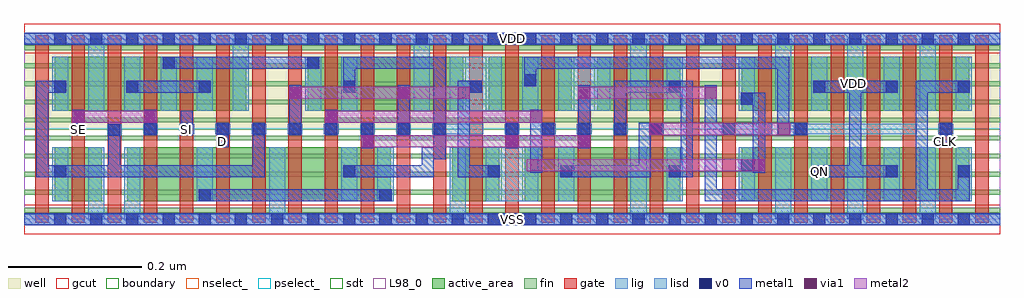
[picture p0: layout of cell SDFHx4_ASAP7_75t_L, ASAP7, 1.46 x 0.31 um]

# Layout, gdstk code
import gdstk
lib = gdstk.Library(unit=1e-6, precision=2.5e-10)
def R(c, l, rs):  # rectangles x0, y0, x1, y1
    for r in rs: c.add(gdstk.rectangle(r[:2], r[2:], *l))
def A(c, l, x, y, w, h, nx, ny, dx, dy):  # array of equal rectangles
    R(c, l, [(x+i*dx, y+j*dy, x+i*dx+w, y+j*dy+h) for i in range(nx) for j in range(ny)])
def P(c, l, *ps):  # polygons
    for p in ps: c.add(gdstk.Polygon(p, *l))
well = (1, 0)
fin = (2, 0)
gate = (7, 0)
gcut = (10, 0)
active_area = (11, 0)
nselect_ = (12, 0)
pselect_ = (13, 0)
lig = (16, 0)
lisd = (17, 0)
v0 = (18, 0)
metal1 = (19, 0)
metal2 = (20, 0)
via1 = (21, 0)
sdt = (88, 0)
L98_0 = (98, 0)
boundary = (100, 0)

sdfhx4_asap7_75t_l = lib.new_cell('SDFHx4_ASAP7_75t_L')
R(sdfhx4_asap7_75t_l, well, [(0,0.135,1.458,0.27)])
A(sdfhx4_asap7_75t_l, fin, 0, 0.01, 1.458, 0.007, 1, 10, 0, 0.027)
A(sdfhx4_asap7_75t_l, gate, 0.017, -0.005, 0.02, 0.28, 27, 1, 0.054, 0)
R(sdfhx4_asap7_75t_l, gcut, [(0,-0.022,1.458,0.022), (0,0.248,1.458,0.292)])
R(sdfhx4_asap7_75t_l, active_area, [(0.046,0.027,0.116,0.108), (0.154,0.027,0.548,0.108), (0.64,0.027,0.71,0.108), (0.748,0.027,0.98,0.108), (1.072,0.027,1.412,0.108), (0.046,0.162,0.332,0.243), (0.424,0.162,0.656,0.243), (0.694,0.162,0.818,0.243), (0.856,0.162,0.98,0.243), (1.072,0.162,1.412,0.243)])
R(sdfhx4_asap7_75t_l, nselect_, [(0,0,1.458,0.135)])
R(sdfhx4_asap7_75t_l, pselect_, [(0,0.135,1.458,0.27)])
A(sdfhx4_asap7_75t_l, lig, 0.178, 0.127, 0.022, 0.016, 8, 1, 0.054, 0)
A(sdfhx4_asap7_75t_l, lig, 0.718, 0.127, 0.022, 0.016, 5, 1, 0.054, 0)
R(sdfhx4_asap7_75t_l, lig, [(0,-0.008,1.458,0.008), (0.124,0.126,0.146,0.142), (0.07,0.127,0.092,0.143), (0.61,0.127,0.686,0.143), (1.042,0.127,1.118,0.143), (1.15,0.127,1.334,0.143), (1.366,0.127,1.388,0.143), (0,0.262,1.458,0.278)])
A(sdfhx4_asap7_75t_l, lisd, 0.366, 0, 0.024, 0.108, 3, 1, 0.27, 0)
A(sdfhx4_asap7_75t_l, lisd, 1.122, 0, 0.024, 0.108, 3, 2, 0.108, 0.162)
A(sdfhx4_asap7_75t_l, lisd, 0.042, 0.027, 0.024, 0.081, 3, 1, 0.216, 0)
A(sdfhx4_asap7_75t_l, lisd, 0.96, 0.027, 0.024, 0.081, 5, 2, 0.108, 0.135)
A(sdfhx4_asap7_75t_l, lisd, 0.15, 0.162, 0.024, 0.081, 3, 1, 0.054, 0)
R(sdfhx4_asap7_75t_l, lisd, [(0.096,0,0.12,0.108), (0.15,0,0.174,0.108), (0.528,0.027,0.552,0.108), (0.69,0.027,0.768,0.108), (0.798,0.027,0.822,0.108), (0.042,0.162,0.066,0.243), (0.096,0.162,0.12,0.27), (0.312,0.162,0.336,0.27), (0.42,0.162,0.444,0.243), (0.474,0.162,0.498,0.243), (0.582,0.162,0.606,0.27), (0.636,0.162,0.714,0.243), (0.744,0.162,0.768,0.243), (0.798,0.162,0.876,0.243), (0.906,0.162,0.93,0.27)])
A(sdfhx4_asap7_75t_l, v0, 0.045, -0.009, 0.018, 0.018, 26, 2, 0.054, 0.27)
A(sdfhx4_asap7_75t_l, v0, 1.179, 0.063, 0.018, 0.018, 3, 2, 0.108, 0.126)
A(sdfhx4_asap7_75t_l, v0, 0.18, 0.126, 0.018, 0.018, 9, 1, 0.054, 0)
A(sdfhx4_asap7_75t_l, v0, 0.72, 0.126, 0.018, 0.018, 5, 1, 0.054, 0)
A(sdfhx4_asap7_75t_l, v0, 0.045, 0.189, 0.018, 0.018, 3, 1, 0.108, 0)
R(sdfhx4_asap7_75t_l, v0, [(0.261,0.027,0.279,0.045), (0.531,0.027,0.549,0.045), (0.045,0.063,0.063,0.081), (0.477,0.063,0.495,0.081), (0.693,0.063,0.711,0.081), (0.801,0.063,0.819,0.081), (0.963,0.063,0.981,0.081), (1.071,0.072,1.089,0.09), (0.126,0.125,0.144,0.143), (0.072,0.126,0.09,0.144), (1.044,0.126,1.062,0.144), (1.152,0.126,1.17,0.144), (1.368,0.126,1.386,0.144), (1.071,0.171,1.089,0.189), (0.477,0.189,0.495,0.207), (0.666,0.189,0.684,0.207), (0.963,0.189,0.981,0.207), (0.747,0.199,0.765,0.217), (0.207,0.225,0.225,0.243), (0.423,0.225,0.441,0.243)])
R(sdfhx4_asap7_75t_l, metal1, [(0,-0.009,1.458,0.009), (0.261,0.027,0.549,0.045), (0.504,0.106,0.522,0.144), (0.72,0.106,0.738,0.144), (0.828,0.106,0.846,0.2), (1.368,0.107,1.386,0.144), (0.288,0.108,0.306,0.144), (0.072,0.126,0.09,0.164), (0.18,0.126,0.198,0.164), (0.234,0.126,0.252,0.162), (0.396,0.126,0.414,0.2), (0.45,0.126,0.468,0.164), (0.558,0.126,0.576,0.2), (0.153,0.189,0.279,0.207), (0.207,0.225,0.441,0.243), (0,0.261,1.458,0.279)])
P(sdfhx4_asap7_75t_l, metal1, [(1.107,0.189),(1.071,0.189),(1.071,0.171),(1.089,0.171),(1.089,0.09),(1.071,0.09),(1.071,0.072),(1.089,0.072),(1.089,0.07),(1.107,0.07)],
  [(0.936,0.126),(0.954,0.126),(0.954,0.144),(0.918,0.144),(0.918,0.081),(0.801,0.081),(0.801,0.063),(0.936,0.063)],
  [(0.774,0.126),(0.792,0.126),(0.792,0.144),(0.774,0.144),(0.774,0.164),(0.756,0.164),(0.756,0.07),(0.774,0.07)],
  [(1.305,0.081),(1.251,0.081),(1.251,0.189),(1.305,0.189),(1.305,0.207),(1.179,0.207),(1.179,0.189),(1.233,0.189),(1.233,0.081),(1.179,0.081),(1.179,0.063),(1.305,0.063)],
  [(0.711,0.081),(0.666,0.081),(0.666,0.189),(0.684,0.189),(0.684,0.207),(0.648,0.207),(0.648,0.063),(0.711,0.063)],
  [(0.36,0.144),(0.342,0.144),(0.342,0.081),(0.144,0.081),(0.144,0.143),(0.126,0.143),(0.126,0.081),(0.036,0.081),(0.036,0.189),(0.063,0.189),(0.063,0.207),(0.018,0.207),(0.018,0.063),(0.36,0.063)],
  [(0.999,0.207),(0.882,0.207),(0.882,0.126),(0.9,0.126),(0.9,0.189),(0.981,0.189),(0.981,0.081),(0.963,0.081),(0.963,0.063),(0.999,0.063)],
  [(1.413,0.207),(1.332,0.207),(1.332,0.045),(1.035,0.045),(1.035,0.126),(1.062,0.126),(1.062,0.144),(1.035,0.144),(1.035,0.2),(1.017,0.2),(1.017,0.027),(1.413,0.027),(1.413,0.081),(1.395,0.081),(1.395,0.045),(1.35,0.045),(1.35,0.189),(1.413,0.189)],
  [(0.612,0.09),(0.63,0.09),(0.63,0.243),(0.477,0.243),(0.477,0.189),(0.495,0.189),(0.495,0.225),(0.612,0.225),(0.612,0.108),(0.594,0.108),(0.594,0.081),(0.477,0.081),(0.477,0.063),(0.612,0.063)],
  [(1.17,0.144),(1.143,0.144),(1.143,0.243),(0.747,0.243),(0.747,0.199),(0.765,0.199),(0.765,0.225),(1.125,0.225),(1.125,0.126),(1.17,0.126)])
R(sdfhx4_asap7_75t_l, metal2, [(0.751,0.072,1.107,0.09), (0.504,0.108,0.846,0.126), (0.934,0.126,1.145,0.144), (0.072,0.144,0.198,0.162), (0.45,0.144,0.774,0.162), (0.396,0.18,0.666,0.198), (0.828,0.18,1.035,0.198)])
R(sdfhx4_asap7_75t_l, via1, [(0.756,0.072,0.774,0.09), (1.089,0.072,1.107,0.09), (0.504,0.108,0.522,0.126), (0.72,0.108,0.738,0.126), (0.828,0.108,0.846,0.126), (0.934,0.126,0.952,0.144), (1.127,0.126,1.145,0.144), (0.072,0.144,0.09,0.162), (0.18,0.144,0.198,0.162), (0.45,0.144,0.468,0.162), (0.756,0.144,0.774,0.162), (0.396,0.18,0.414,0.198), (0.558,0.18,0.576,0.198), (0.648,0.18,0.666,0.198), (0.828,0.18,0.846,0.198), (1.017,0.18,1.035,0.198)])
A(sdfhx4_asap7_75t_l, sdt, 0.042, 0.027, 0.024, 0.081, 3, 1, 0.054, 0)
A(sdfhx4_asap7_75t_l, sdt, 0.258, 0.027, 0.024, 0.081, 3, 1, 0.108, 0)
A(sdfhx4_asap7_75t_l, sdt, 0.636, 0.027, 0.024, 0.081, 4, 1, 0.054, 0)
A(sdfhx4_asap7_75t_l, sdt, 1.068, 0.027, 0.024, 0.081, 7, 2, 0.054, 0.135)
A(sdfhx4_asap7_75t_l, sdt, 0.042, 0.162, 0.024, 0.081, 6, 1, 0.054, 0)
A(sdfhx4_asap7_75t_l, sdt, 0.582, 0.162, 0.024, 0.081, 8, 1, 0.054, 0)
R(sdfhx4_asap7_75t_l, sdt, [(0.528,0.027,0.552,0.108), (0.906,0.027,0.93,0.108), (0.96,0.027,0.984,0.108), (0.42,0.162,0.444,0.243), (0.474,0.162,0.498,0.243)])
R(sdfhx4_asap7_75t_l, L98_0, [(0,0,1.458,0.27)])
R(sdfhx4_asap7_75t_l, boundary, [(0,0,1.458,0.27)])
sdfhx4_asap7_75t_l.add(gdstk.Label('VDD', (1.2392,0.2025), layer=1, texttype=251))
sdfhx4_asap7_75t_l.add(gdstk.Label('VSS', (1.6767,0.2025), layer=3, texttype=251))
sdfhx4_asap7_75t_l.add(gdstk.Label('SI', (0.243,0.135), layer=19, texttype=251))
sdfhx4_asap7_75t_l.add(gdstk.Label('SE', (0.081,0.135), layer=19, texttype=251))
sdfhx4_asap7_75t_l.add(gdstk.Label('QN', (1.188,0.072), layer=19, texttype=251))
sdfhx4_asap7_75t_l.add(gdstk.Label('D', (0.297,0.117), layer=19, texttype=251))
sdfhx4_asap7_75t_l.add(gdstk.Label('CLK', (1.377,0.117), layer=19, texttype=251))
sdfhx4_asap7_75t_l.add(gdstk.Label('VSS', (0.729,0), layer=19, texttype=251))
sdfhx4_asap7_75t_l.add(gdstk.Label('VDD', (0.729,0.27), layer=19, texttype=251))

lib.write_gds('SDFHx4_ASAP7_75t_L.gds')
